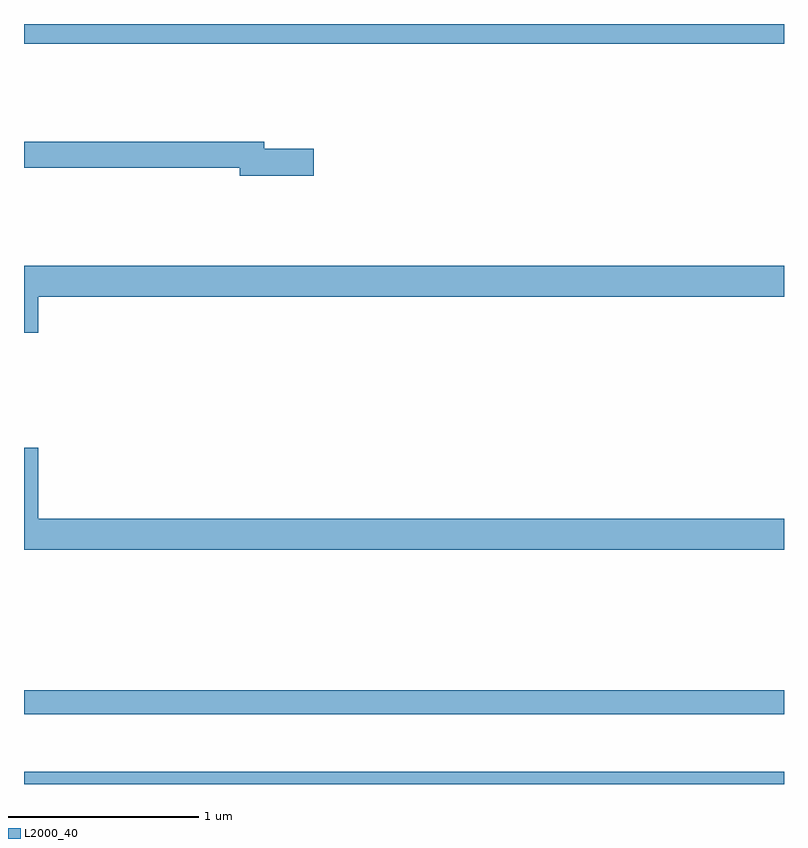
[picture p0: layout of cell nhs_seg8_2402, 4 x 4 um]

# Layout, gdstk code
import gdstk
lib = gdstk.Library(unit=1e-6, precision=1e-09)
def R(c, l, rs):  # rectangles x0, y0, x1, y1
    for r in rs: c.add(gdstk.rectangle(r[:2], r[2:], *l))
def P(c, l, *ps):  # polygons
    for p in ps: c.add(gdstk.Polygon(p, *l))
L2000_40 = (2000, 40)

nhs_seg8_2402 = lib.new_cell('nhs_seg8_2402')
R(nhs_seg8_2402, L2000_40, [(261,1149.9,265,1149.964), (261,1150.266,265,1150.394), (261,1153.796,265,1153.9)])
P(nhs_seg8_2402, L2000_40, [(262.525,1153.244),(262.264,1153.244),(262.264,1153.28),(261,1153.28),(261,1153.144),(262.136,1153.144),(262.136,1153.102),(262.525,1153.102)],
  [(261.076,1152.464),(265,1152.464),(265,1152.628),(261,1152.628),(261,1152.276),(261.076,1152.276)],
  [(265,1151.296),(261.076,1151.296),(261.076,1151.671),(261,1151.671),(261,1151.132),(265,1151.132)])

lib.write_gds('nhs_seg8_2402.gds')
